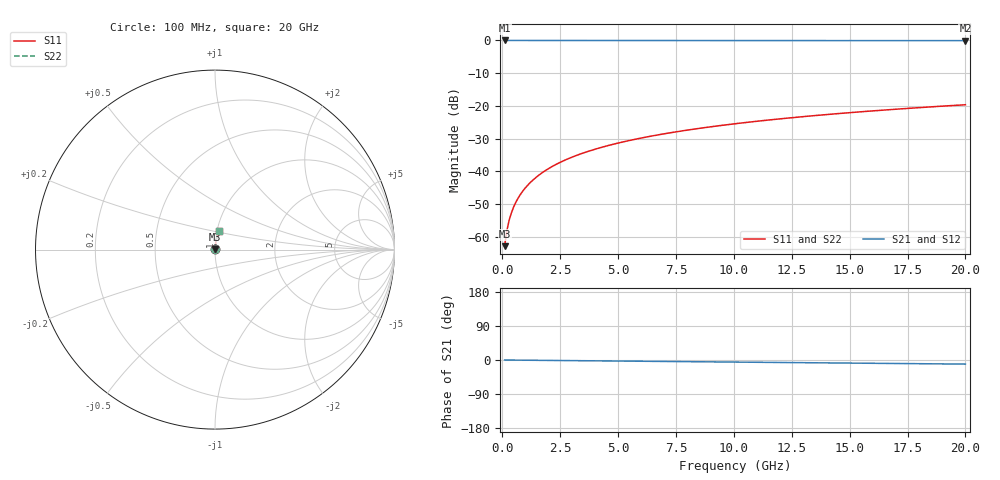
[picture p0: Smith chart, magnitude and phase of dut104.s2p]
! Touchstone file exported from HFSS 2026.1.0
!  File:  C:/ffzhzh/LocalFiles/Ansys_Project_Files/temp_train_TMRDL_104_1782982290_6248.aedt
!  Generated:  04:52:46 PM Jul  2, 2026
!  Design:  TMRDL
!  Project:  temp_train_TMRDL_104_1782982290_6248
! Variables:
!  h_bsmrdl = 2um
!  h_ox = 20um
!  h_rdl = 5um
!  h_sub = 80um
!  h_tmrdl = 5.92um
!  h_tsv = 80um
!  h_via = 3um
!  l_bsmrdl = 300um
!  l_sub = 520.7um
!  l_tmrdl = 120.7um
!  m_sub = 200um
!  pitch = 58.37um
!  r_tsv = 6um
!  s_tmrdl = 10um
!  w_bsmrdl = 18um
!  w_sub = 500um
!  w_tmrdl = 29.01um
!  x_tsv_center1 = 135.205um
!  x_tsv_center2 = 453.205um
!  x_tsv_center3 = 602.915um
!  x_tsv_center4 = 920.915um
!  x_tsv_center5 = 1070.625um
!  x_tsv_center6 = 1388.625um
# GHz S MA R 50.000000
! Terminal data exported
! Port[1] = TM_RDL1_1_T1
! Port[2] = TM_RDL1_1_T2
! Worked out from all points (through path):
!   200 points, 100 MHz to 20 GHz, reference 50 ohm
!   highest |S21| = 0.00 dB at 100 MHz (marker M1); lowest = -0.1 dB at 20 GHz (marker M2)
!   group delay of S21, straight-line fit = 1.5 ps
!   lowest |S11| = -62.9 dB at 100 MHz (marker M3), VSWR 1.00, Z = 50 + j0.0598 ohm
!   |S11| at or under -10 dB: start of sweep to end of sweep
!   |S22| runs from -62.9 to -19.6 dB; largest |S21 - S12| = 5e-15
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0.1  0.0007187 56.3  0.9996 -0.1  0.9996 -0.1  0.0007187 56.3
! Gamma 0 0 0 0
! Port Impedance 50 0 50 0
0.2  0.001258 70.1  0.9996 -0.1  0.9996 -0.1  0.001258 70.1
0.3  0.001812 75.1  0.9995 -0.2  0.9995 -0.2  0.001812 75.1
0.4  0.002362 77.7  0.9995 -0.2  0.9995 -0.2  0.002362 77.7
0.5  0.002906 79.4  0.9995 -0.3  0.9995 -0.3  0.002906 79.4
0.7  0.003988 81.5  0.9994 -0.4  0.9994 -0.4  0.003988 81.5
0.8  0.004529 82.2  0.9994 -0.5  0.9994 -0.5  0.004529 82.2
1  0.005611 83.2  0.9994 -0.6  0.9994 -0.6  0.005611 83.2
1.2  0.006695 83.9  0.9993 -0.7  0.9993 -0.7  0.006695 83.9
1.4  0.007779 84.3  0.9993 -0.8  0.9993 -0.8  0.007779 84.3
1.7  0.009406 84.8  0.9992 -0.9  0.9992 -0.9  0.009406 84.8
2  0.01103 85.0  0.9992 -1.1  0.9992 -1.1  0.01103 85.0
2.7  0.0148 85.2  0.999 -1.5  0.999 -1.5  0.0148 85.2
3.5  0.01909 85.1  0.9988 -1.9  0.9988 -1.9  0.01909 85.1
4.2  0.02281 84.9  0.9986 -2.3  0.9986 -2.3  0.02281 84.9
5  0.02703 84.6  0.9984 -2.8  0.9984 -2.8  0.02703 84.6
6.8  0.03647 84.0  0.9979 -3.7  0.9979 -3.7  0.03647 84.0
8.3  0.04428 83.3  0.9974 -4.5  0.9974 -4.5  0.04428 83.3
10.1  0.05361 82.5  0.9968 -5.5  0.9968 -5.5  0.05361 82.6
13.4  0.07062 81.0  0.9954 -7.3  0.9954 -7.3  0.07062 81.0
16.7  0.08747 79.4  0.9939 -9.1  0.9939 -9.1  0.08747 79.4
20  0.1041 77.8  0.992 -10.8  0.992 -10.8  0.1041 77.8
